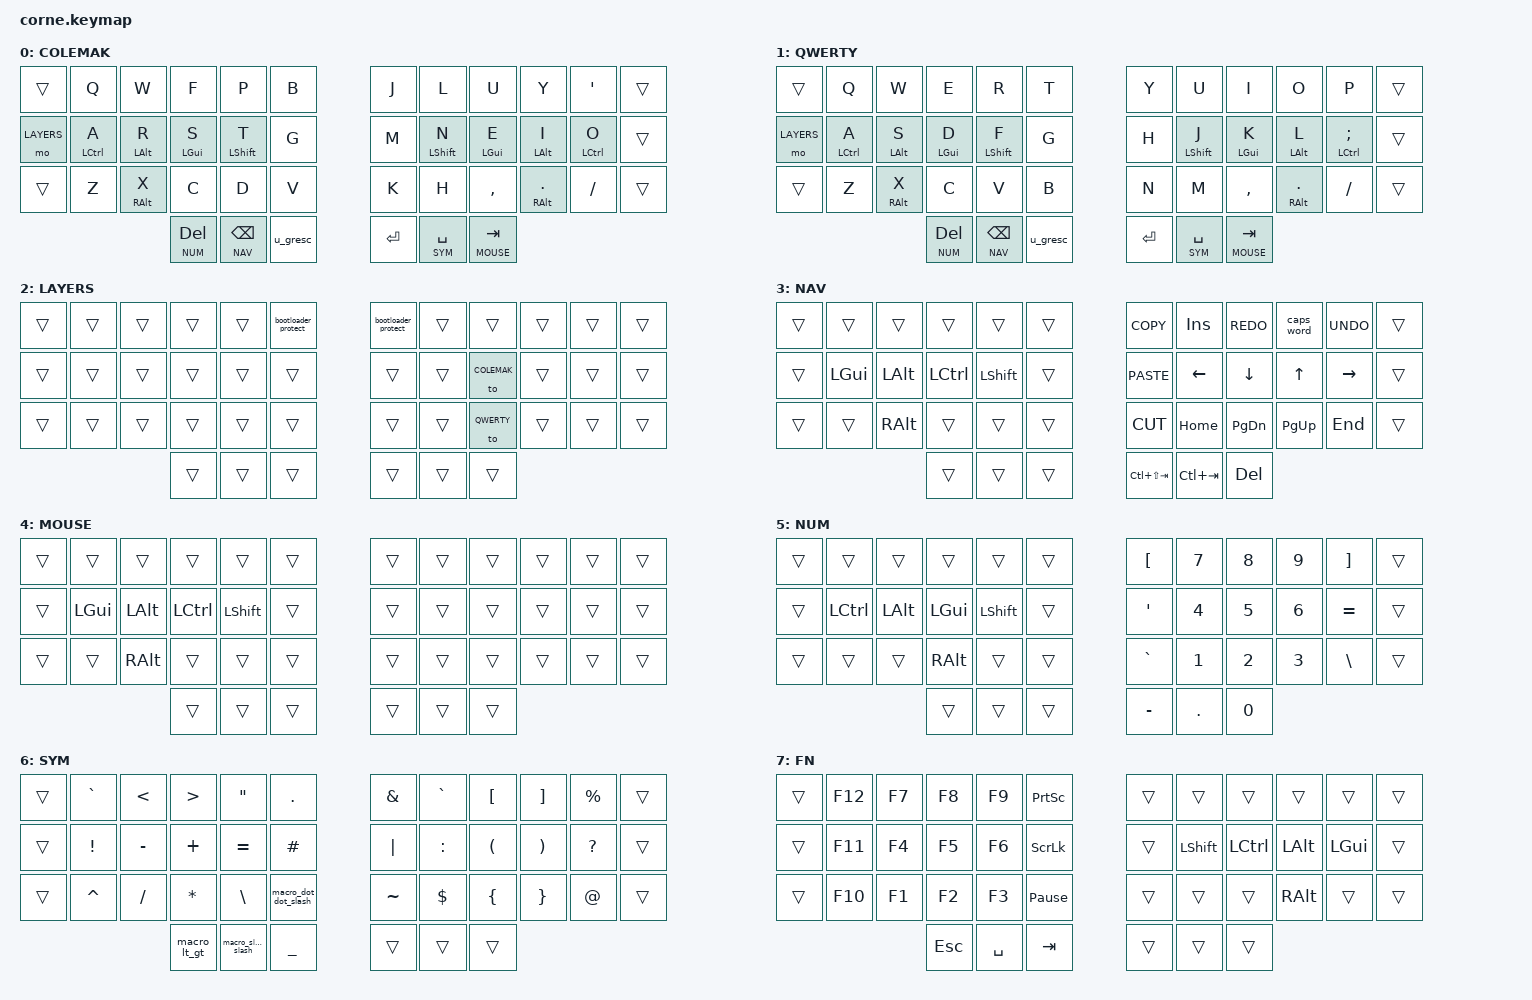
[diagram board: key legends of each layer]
#include <behaviors.dtsi>
#include <dt-bindings/zmk/keys.h>
#include <dt-bindings/zmk/bt.h>
#include <dt-bindings/zmk/ext_power.h>
#include <dt-bindings/zmk/outputs.h>

#include "custom_behaviours.dtsi"

// Layer Definitions
#define COLEMAK 0
#define QWERTY 1
#define LAYERS 2
#define NAV 3
#define MOUSE 4
// #define MEDIA 6
#define NUM 5
#define SYM 6
#define FN 7

// Behavior configuration
&mt {
    tapping-term-ms = <200>;
    quick_tap_ms = <0>;
    flavor = "tap-preferred";
};
&lt {
    tapping-term-ms = <200>;
    quick_tap_ms = <0>;
    flavor = "tap-preferred";
};
&sk {
    release-after-ms = <500>;
    quick-release;
};

// Keymap configuration (Colemak-DHm)
/ {
    keymap {
        compatible = "zmk,keymap";

        colemak {
        display-name = "COLEMAK";
    // -----------------------------------------------------------------------------------------------------------------------------
    // |        |   Q    |   W    |     E     |     R     |     T     | # |     Y     |     U    |    I    |    O   |   P    |     |
    // | LAYERS | A/LGUI | S/LALT |  D/LCTRL  |  F/LSHFT  |     G     | # |     H     | J/LSHFT  | K/LCTRR | L/LALT | ;/LGUI |     |
    // |        |   Z    | X/RALT |     C     |     V     |     B     | # |     N     |     M    |    ,    | ./RALT |   /    |     |
    //                            | ESC/MEDIA | SPACE/NAV | TAB/MOUSE | # | ENTER/SYM | BSPC/NUM | DEL/FN  |
    
                bindings = <
    &trans      &kp Q       &kp W       &kp F          &kp P          &kp B                &kp J          &kp L         &kp U          &kp Y         &kp SQT     &trans
    &mo LAYERS  &mt LCTRL A &mt LALT R  &mt LGUI S     &mt LSHFT T    &kp G                &kp M          &mt LSHFT N   &mt LGUI E     &mt LALT I    &mt LCTRL O &trans
    &trans      &kp Z       &mt RALT X  &kp C          &kp D          &kp V                &kp K          &kp H         &kp CMMA       &mt RALT DOT  &kp FSLH    &trans
                                        &lt NUM DEL    &lt NAV BSPC   &u_gresc             &kp ENTER      &lt SYM SPACE &lt MOUSE TAB
                >;
            };
            
        qwerty {
        display-name = "QWERTY";
// -----------------------------------------------------------------------------------------------------------------------------
// |        |   Q    |   W    |     F     |     P     |     B     | # |     J     |    L     |    U    |    Y   |   '    |     |
// | LAYERS | A/LGUI | R/LALT |  S/LCTRL  |  T/LSHFT  |     G     | # |     M     | N/LSHFT  | E/LCTRL | I/LALT | O/LGUI |     |
// |        |   Z    | X/RALT |     C     |     D     |     V     | # |     K     |    H     |    ,    | ./RALT |   /    |     |
//                            | ESC/MEDIA | SPACE/NAV | TAB/MOUSE | # | ENTER/SYM | BSPC/NUM | DEL/FN  |

            bindings = <
&trans      &kp Q       &kp W       &kp E          &kp R          &kp T                      &kp Y          &kp U         &kp I          &kp O         &kp P          &trans
&mo LAYERS  &mt LCTRL A &mt LALT S  &mt LGUI D     &mt LSHFT F    &kp G                      &kp H          &mt LSHFT J   &mt LGUI K     &mt LALT L    &mt LCTRL SEMI &trans
&trans      &kp Z       &mt RALT X  &kp C          &kp V          &kp B                      &kp N          &kp M         &kp CMMA       &mt RALT DOT  &kp FSLH       &trans
                                    &lt NUM DEL    &lt NAV BSPC   &u_gresc                   &kp ENTER      &lt SYM SPACE &lt MOUSE TAB
            >;
        };

        layers {
            display-name = "LAYERS";
// ---------------------------------------------------------------------------------------------
// |      |     |     |     |     | BOOT | # | BOOT |     |         |                |     |     |
// | HELD |     |     |     |     |      | # |      |     | COLEMAK |                |     |     |
// |      |     |     |     |     |      | # |      |     | QWERTY  |                |     |     |
//                    |     |     |      | # |      |     |         |

            bindings = <
&trans  &trans  &trans  &trans  &trans  &bootloader_protect        &bootloader_protect  &trans  &trans       &trans              &trans  &trans
&trans  &trans  &trans  &trans  &trans  &trans                     &trans               &trans  &to COLEMAK  &trans              &trans  &trans
&trans  &trans  &trans  &trans  &trans  &trans                     &trans               &trans  &to QWERTY   &trans              &trans  &trans
                        &trans  &trans  &trans                     &trans  &trans  &trans
            >;
        };


        navigation {
            display-name = "NAV";
// -------------------------------------------------------------------------------------------
// |     |      |      |       |       |     | # | COPY  | INS  | REDO | CAPS  | UNDO  |     |
// |     | LGUI | LALT | LCTRL | LSHFT |     | # | PASTE | LEFT | DOWN | UP    | RIGHT |     |
// |     |      | RALT |       |       |     | # | CUT   | HOME | PGDN | PGUP  | END   |     |
//                     |       | HELD  |     | # | ENTER | BSPC | DEL  |

            bindings = <
&trans  &trans    &trans    &trans     &trans     &trans        &kp K_COPY          &kp INS    &kp K_REDO  &caps_word   &kp K_UNDO  &trans
&trans  &kp LGUI  &kp LALT  &kp LCTRL  &kp LSHFT  &trans        &kp K_PASTE         &kp LEFT   &kp DOWN    &kp UP       &kp RIGHT   &trans
&trans  &trans    &kp RALT  &trans     &trans     &trans        &kp K_CUT           &kp HOME   &kp PG_DN   &kp PG_UP    &kp END     &trans
                            &trans     &trans     &trans        &kp LC(LS(TAB))     &kp LC(TAB)   &kp DEL
            >;
        };

// TODO
// Add mouse keys when implemented in ZMK

        mouse {
            display-name = "MOUSE";
// ------------------------------------------------------------------------------------
// |     |      |      |       |       |      | # |     |     |     |     |     |     |
// |     | LGUI | LALT | LCTRL | LSHFT |      | # |     |     |     |     |     |     |
// |     |      | RALT |       |       |      | # |     |     |     |     |     |     |
//                     |       |       | HELD | # |     |     |     |

            bindings = <
&trans  &trans    &trans    &trans     &trans     &trans        &trans  &trans  &trans  &trans  &trans  &trans
&trans  &kp LGUI  &kp LALT  &kp LCTRL  &kp LSHFT  &trans        &trans  &trans  &trans  &trans  &trans  &trans
&trans  &trans    &kp RALT  &trans     &trans     &trans        &trans  &trans  &trans  &trans  &trans  &trans
                            &trans     &trans     &trans        &trans  &trans  &trans
            >;
        };

//         media {
// // -----------------------------------------------------------------------------------------------------
// // |     |      |      |       |       |      | # | BOOTLOAD | EP_OFF | BR_D   | BR_U   | EP_ON  |     |
// // |     | LGUI | LALT | LCTRL | LSHFT |      | # | RESET    | PREV   | VOL_D  | VOL_U  | NEXT   |     |
// // |     |      | RALT |       |       |      | # | OUT_BLE  | BT_0   | BT_PRV | BT_NXT | BT_CLR |     |
// //                     | HELD  |       |      | # | STOP     | PLAY   | MUTE   |

//             bindings = <
// &trans  &trans    &trans    &trans     &trans     &trans        &bootloader   &ext_power EP_OFF  &cp C_BRI_DN  &cp C_BRI_UP  &ext_power EP_ON  &trans
// &trans  &kp LGUI  &kp LALT  &kp LCTRL  &kp LSHFT  &trans        &reset        &cp C_PREV         &cp C_VOL_DN  &cp C_VOL_UP  &cp C_NEXT        &trans
// &trans  &trans    &kp RALT  &trans     &trans     &trans        &out OUT_BLE  &bt BT_SEL 0       &bt BT_PRV    &bt BT_NXT    &bt BT_CLR        &trans
//                             &trans     &trans     &trans        &cp C_STOP    &cp C_PLAY         &cp C_MUTE
//             >;
//         };

        numbers {
            display-name = "NUM";
// --------------------------------------------------------------------------------------
// |      |      |      |      |      |      |      |  [  |  7  |  8  |  9  |  ]  |     |  
// |      |LSHFT |LCTRL |LALT  |LGUI  |      |      |  ;  |  4  |  5  |  6  |  =  |     |
// |      |      |      |RALT  |      |      |      |  `  |  1  |  2  |  3  |  \  |     |
//                      | HELD |      |      |      |  -  |  .  |  0  |
// -------------------------------------------------------------------------------------

            bindings = <
    &trans   &trans     &trans     &trans    &trans    &trans            &kp LBKT   &kp N7   &kp N8   &kp N9   &kp RBKT     &trans
    &trans   &kp LCTRL  &kp LALT  &kp LGUI  &kp LSHFT  &trans            &kp SQT    &kp N4   &kp N5   &kp N6   &kp EQUAL    &trans
    &trans   &trans     &trans     &kp RALT  &trans    &trans            &kp GRAVE  &kp N1   &kp N2   &kp N3   &kp BSLH     &trans
                            &trans   &trans   &trans       &kp MINUS  &kp DOT   &kp N0
            >;
        };

        symbols {
            display-name = "SYM";
// ----------------------------------------------------------------------------------------------
// |     |  `  |  <  |  >  |  "  |  .   |    |      |   &   |   `   |   [   |   ]  |  %   |     |
// |     |  !  |  -  |  +  |  =  |  #   |    |      |   |   |   :   |   (   |   )  |  ?   |     |
// |     |  ^  |  /  |  *  |  \  |  ../ |    |      |   ~   |   $   |   {   |   }  |  @   |     |
// |                 |  <> |  // |  _   |    | HELD |       |       |                           |
// ----------------------------------------------------------------------------------------------
            bindings = <
    &trans        &kp GRAVE    &kp LT        &kp GT        &kp DQT       &kp DOT                     &kp AMPS     &kp GRAVE     &kp LBKT     &kp RBKT      &kp PRCNT     &trans 
    &trans        &kp EXCL     &kp MINUS     &kp PLUS      &kp EQUAL     &kp HASH                    &kp PIPE     &kp COLON     &kp LPAR     &kp RPAR      &kp QMARK     &trans 
    &trans        &kp CARET    &kp FSLH      &kp ASTRK     &kp BSLH      &macro_dot_dot_slash        &kp TILDE    &kp DLLR      &kp LBRC     &kp RBRC      &kp AT        &trans
                    &macro_lt_gt   &macro_slash_slash   &kp UNDERSCORE                                      &trans      &trans    &trans
                        >;
        };

        function {
            display-name = "FN";
// ------------------------------------------------------------------------------------------
// |     |  F12 |  F7  |  F8  |  F9   | PSCRN | # |     |       |       |      |      |     |
// |     |  F11 |  F4  |  F5  |  F6   | SLCK  | # |     | LSHFT | LCTRL | LALT | LGUI |     |
// |     |  F10 |  F1  |  F2  |  F3   | PAUSE | # |     |       |       | RALT |      |     |
//                     | ESC  | SPACE |  TAB  | # |     |       | HELD  |

            bindings = <
&trans  &kp F12  &kp F7  &kp F8   &kp F9     &kp PSCRN              &trans  &trans     &trans     &trans    &trans    &trans
&trans  &kp F11  &kp F4  &kp F5   &kp F6     &kp SLCK               &trans  &kp LSHFT  &kp LCTRL  &kp LALT  &kp LGUI  &trans
&trans  &kp F10  &kp F1  &kp F2   &kp F3     &kp PAUSE_BREAK        &trans  &trans     &trans     &kp RALT  &trans    &trans
                         &kp ESC  &kp SPACE  &kp TAB                &trans  &trans     &trans
            >;
        };
    };
};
